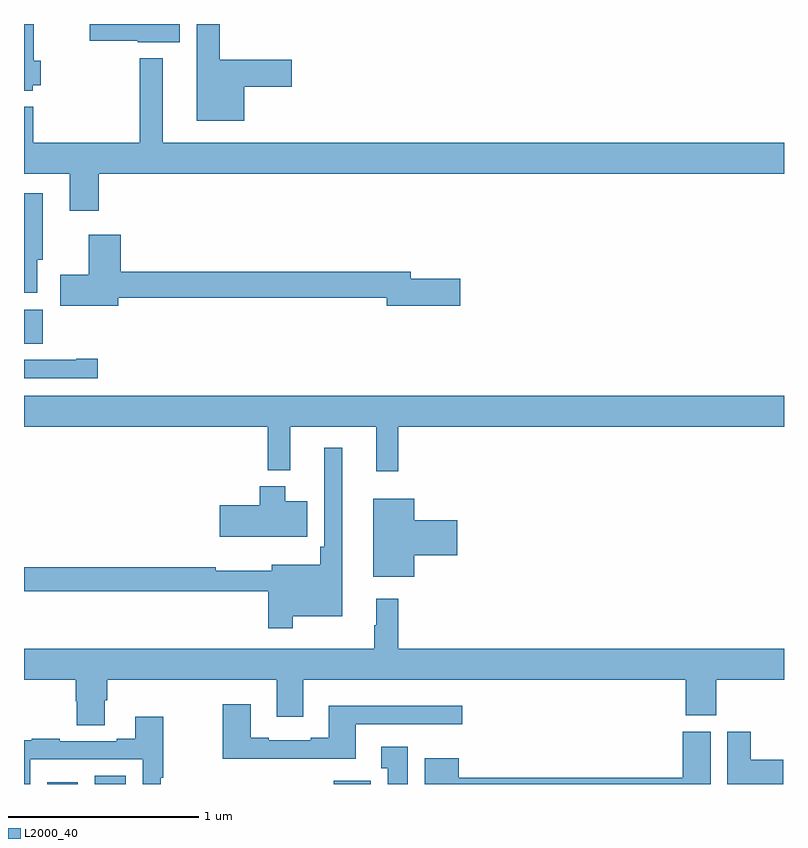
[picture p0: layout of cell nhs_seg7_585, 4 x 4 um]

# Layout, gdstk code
import gdstk
lib = gdstk.Library(unit=1e-6, precision=1e-09)
def R(c, l, rs):  # rectangles x0, y0, x1, y1
    for r in rs: c.add(gdstk.rectangle(r[:2], r[2:], *l))
def P(c, l, *ps):  # polygons
    for p in ps: c.add(gdstk.Polygon(p, *l))
L2000_40 = (2000, 40)

nhs_seg7_585 = lib.new_cell('nhs_seg7_585')
R(nhs_seg7_585, L2000_40, [(155.123,1068,155.284,1068.01), (155.372,1068,155.536,1068.044), (156.629,1068,156.826,1068.016), (155,1070.317,155.099,1070.496)])
P(nhs_seg7_585, L2000_40, [(155.821,1072),(155.346,1072),(155.346,1071.911),(155.598,1071.911),(155.598,1071.905),(155.821,1071.905)],
  [(156.16,1071.67),(156.409,1071.67),(156.409,1071.812),(156.031,1071.812),(156.031,1072),(155.909,1072),(155.909,1071.491),(156.16,1071.491)],
  [(155.046,1071.677),(155.089,1071.677),(155.089,1071.807),(155.05,1071.807),(155.05,1072),(155,1072),(155,1071.65),(155.046,1071.65)],
  [(155.393,1071.212),(159,1071.212),(159,1071.376),(155.731,1071.376),(155.731,1071.82),(155.61,1071.82),(155.61,1071.376),(155.048,1071.376),(155.048,1071.565),(155,1071.565),(155,1071.212),(155.24,1071.212),(155.24,1071.018),(155.393,1071.018)],
  [(155.071,1070.76),(155.098,1070.76),(155.098,1071.109),(155,1071.109),(155,1070.585),(155.071,1070.585)],
  [(155.497,1070.56),(156.908,1070.56),(156.908,1070.518),(157.297,1070.518),(157.297,1070.66),(157.036,1070.66),(157.036,1070.696),(155.51,1070.696),(155.51,1070.89),(155.342,1070.89),(155.342,1070.679),(155.19,1070.679),(155.19,1070.516),(155.497,1070.516)],
  [(155.389,1070.237),(155.276,1070.237),(155.276,1070.232),(155,1070.232),(155,1070.136),(155.389,1070.136)],
  [(156.971,1069.88),(159,1069.88),(159,1070.044),(155,1070.044),(155,1069.88),(156.283,1069.88),(156.283,1069.652),(156.401,1069.652),(156.401,1069.88),(156.854,1069.88),(156.854,1069.647),(156.971,1069.647)],
  [(156.415,1068.884),(156.676,1068.884),(156.676,1069.771),(156.579,1069.771),(156.579,1069.249),(156.559,1069.249),(156.559,1069.153),(156.305,1069.153),(156.305,1069.123),(156.009,1069.123),(156.009,1069.142),(155,1069.142),(155,1069.014),(156.286,1069.014),(156.286,1068.819),(156.415,1068.819)],
  [(156.49,1069.489),(156.376,1069.489),(156.376,1069.567),(156.242,1069.567),(156.242,1069.467),(156.03,1069.467),(156.03,1069.301),(156.49,1069.301)],
  [(157.054,1069.205),(157.279,1069.205),(157.279,1069.388),(157.054,1069.388),(157.054,1069.501),(156.839,1069.501),(156.839,1069.091),(157.054,1069.091)],
  [(155,1068.548),(155.273,1068.548),(155.273,1068.435),(155.278,1068.435),(155.278,1068.31),(155.425,1068.31),(155.425,1068.442),(155.438,1068.442),(155.438,1068.548),(156.329,1068.548),(156.329,1068.354),(156.469,1068.354),(156.469,1068.548),(158.483,1068.548),(158.483,1068.361),(158.643,1068.361),(158.643,1068.548),(159,1068.548),(159,1068.712),(156.971,1068.712),(156.971,1068.976),(156.854,1068.976),(156.854,1068.836),(156.843,1068.836),(156.843,1068.712),(155,1068.712)],
  [(156.745,1068.315),(157.306,1068.315),(157.306,1068.412),(156.605,1068.412),(156.605,1068.244),(156.509,1068.244),(156.509,1068.231),(156.289,1068.231),(156.289,1068.244),(156.193,1068.244),(156.193,1068.421),(156.046,1068.421),(156.046,1068.134),(156.745,1068.134)],
  [(155.034,1068.129),(155.625,1068.129),(155.625,1068),(155.721,1068),(155.721,1068.032),(155.734,1068.032),(155.734,1068.355),(155.585,1068.355),(155.585,1068.238),(155.489,1068.238),(155.489,1068.225),(155.189,1068.225),(155.189,1068.238),(155.041,1068.238),(155.041,1068.231),(155,1068.231),(155,1068),(155.034,1068)],
  [(158.614,1068.276),(158.468,1068.276),(158.468,1068.032),(157.288,1068.032),(157.288,1068.136),(157.109,1068.136),(157.109,1068),(158.614,1068)],
  [(158.995,1068.127),(158.824,1068.127),(158.824,1068.274),(158.702,1068.274),(158.702,1068),(158.995,1068)],
  [(157.021,1068.196),(156.881,1068.196),(156.881,1068.083),(156.914,1068.083),(156.914,1068),(157.021,1068)])

lib.write_gds('nhs_seg7_585.gds')
